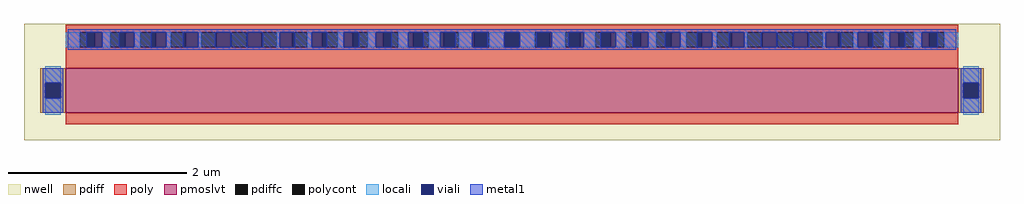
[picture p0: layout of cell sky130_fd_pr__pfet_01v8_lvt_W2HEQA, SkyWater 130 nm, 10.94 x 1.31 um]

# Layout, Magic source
magic
tech sky130A
magscale 1 2
<< nwell >>
rect -1094 -148 1094 114
<< pmoslvt >>
rect -1000 -86 1000 14
<< pdiff >>
rect -1058 -19 -1000 14
rect -1058 -53 -1046 -19
rect -1012 -53 -1000 -19
rect -1058 -86 -1000 -53
rect 1000 -19 1058 14
rect 1000 -53 1012 -19
rect 1046 -53 1058 -19
rect 1000 -86 1058 -53
<< pdiffc >>
rect -1046 -53 -1012 -19
rect 1012 -53 1046 -19
<< poly >>
rect -1000 95 1000 111
rect -1000 61 -969 95
rect -935 61 -901 95
rect -867 61 -833 95
rect -799 61 -765 95
rect -731 61 -697 95
rect -663 61 -629 95
rect -595 61 -561 95
rect -527 61 -493 95
rect -459 61 -425 95
rect -391 61 -357 95
rect -323 61 -289 95
rect -255 61 -221 95
rect -187 61 -153 95
rect -119 61 -85 95
rect -51 61 -17 95
rect 17 61 51 95
rect 85 61 119 95
rect 153 61 187 95
rect 221 61 255 95
rect 289 61 323 95
rect 357 61 391 95
rect 425 61 459 95
rect 493 61 527 95
rect 561 61 595 95
rect 629 61 663 95
rect 697 61 731 95
rect 765 61 799 95
rect 833 61 867 95
rect 901 61 935 95
rect 969 61 1000 95
rect -1000 14 1000 61
rect -1000 -112 1000 -86
<< polycont >>
rect -969 61 -935 95
rect -901 61 -867 95
rect -833 61 -799 95
rect -765 61 -731 95
rect -697 61 -663 95
rect -629 61 -595 95
rect -561 61 -527 95
rect -493 61 -459 95
rect -425 61 -391 95
rect -357 61 -323 95
rect -289 61 -255 95
rect -221 61 -187 95
rect -153 61 -119 95
rect -85 61 -51 95
rect -17 61 17 95
rect 51 61 85 95
rect 119 61 153 95
rect 187 61 221 95
rect 255 61 289 95
rect 323 61 357 95
rect 391 61 425 95
rect 459 61 493 95
rect 527 61 561 95
rect 595 61 629 95
rect 663 61 697 95
rect 731 61 765 95
rect 799 61 833 95
rect 867 61 901 95
rect 935 61 969 95
<< locali >>
rect -1000 61 -969 95
rect -919 61 -901 95
rect -847 61 -833 95
rect -775 61 -765 95
rect -703 61 -697 95
rect -631 61 -629 95
rect -595 61 -593 95
rect -527 61 -521 95
rect -459 61 -449 95
rect -391 61 -377 95
rect -323 61 -305 95
rect -255 61 -233 95
rect -187 61 -161 95
rect -119 61 -89 95
rect -51 61 -17 95
rect 17 61 51 95
rect 89 61 119 95
rect 161 61 187 95
rect 233 61 255 95
rect 305 61 323 95
rect 377 61 391 95
rect 449 61 459 95
rect 521 61 527 95
rect 593 61 595 95
rect 629 61 631 95
rect 697 61 703 95
rect 765 61 775 95
rect 833 61 847 95
rect 901 61 919 95
rect 969 61 1000 95
rect -1046 -19 -1012 18
rect -1046 -90 -1012 -53
rect 1012 -19 1046 18
rect 1012 -90 1046 -53
<< viali >>
rect -953 61 -935 95
rect -935 61 -919 95
rect -881 61 -867 95
rect -867 61 -847 95
rect -809 61 -799 95
rect -799 61 -775 95
rect -737 61 -731 95
rect -731 61 -703 95
rect -665 61 -663 95
rect -663 61 -631 95
rect -593 61 -561 95
rect -561 61 -559 95
rect -521 61 -493 95
rect -493 61 -487 95
rect -449 61 -425 95
rect -425 61 -415 95
rect -377 61 -357 95
rect -357 61 -343 95
rect -305 61 -289 95
rect -289 61 -271 95
rect -233 61 -221 95
rect -221 61 -199 95
rect -161 61 -153 95
rect -153 61 -127 95
rect -89 61 -85 95
rect -85 61 -55 95
rect -17 61 17 95
rect 55 61 85 95
rect 85 61 89 95
rect 127 61 153 95
rect 153 61 161 95
rect 199 61 221 95
rect 221 61 233 95
rect 271 61 289 95
rect 289 61 305 95
rect 343 61 357 95
rect 357 61 377 95
rect 415 61 425 95
rect 425 61 449 95
rect 487 61 493 95
rect 493 61 521 95
rect 559 61 561 95
rect 561 61 593 95
rect 631 61 663 95
rect 663 61 665 95
rect 703 61 731 95
rect 731 61 737 95
rect 775 61 799 95
rect 799 61 809 95
rect 847 61 867 95
rect 867 61 881 95
rect 919 61 935 95
rect 935 61 953 95
rect -1046 -53 -1012 -19
rect 1012 -53 1046 -19
<< metal1 >>
rect -996 95 996 101
rect -996 61 -953 95
rect -919 61 -881 95
rect -847 61 -809 95
rect -775 61 -737 95
rect -703 61 -665 95
rect -631 61 -593 95
rect -559 61 -521 95
rect -487 61 -449 95
rect -415 61 -377 95
rect -343 61 -305 95
rect -271 61 -233 95
rect -199 61 -161 95
rect -127 61 -89 95
rect -55 61 -17 95
rect 17 61 55 95
rect 89 61 127 95
rect 161 61 199 95
rect 233 61 271 95
rect 305 61 343 95
rect 377 61 415 95
rect 449 61 487 95
rect 521 61 559 95
rect 593 61 631 95
rect 665 61 703 95
rect 737 61 775 95
rect 809 61 847 95
rect 881 61 919 95
rect 953 61 996 95
rect -996 55 996 61
rect -1052 -19 -1006 14
rect -1052 -53 -1046 -19
rect -1012 -53 -1006 -19
rect -1052 -86 -1006 -53
rect 1006 -19 1052 14
rect 1006 -53 1012 -19
rect 1046 -53 1052 -19
rect 1006 -86 1052 -53
<< end >>
